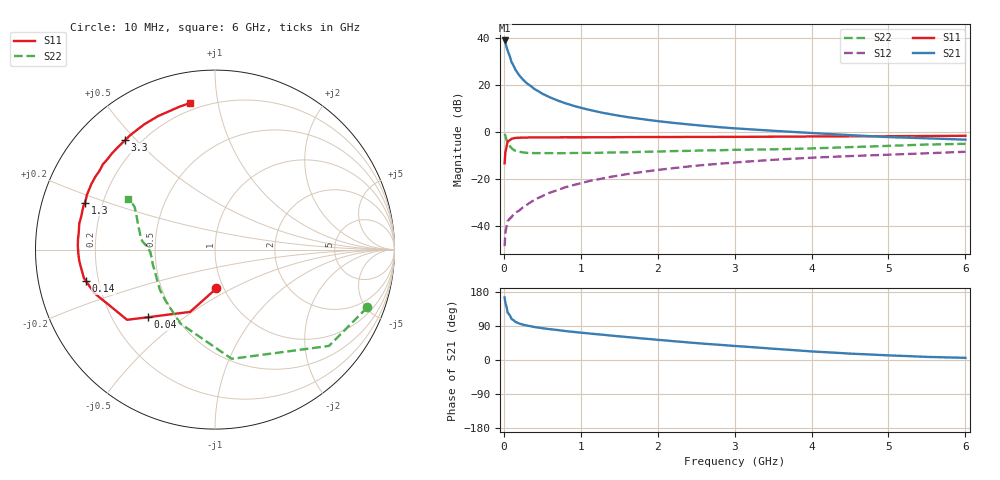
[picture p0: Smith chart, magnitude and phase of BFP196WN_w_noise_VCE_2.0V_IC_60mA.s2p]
! Infineon Technologies  Discrete & RF Semiconductors
! BFP196WN
! VCE =  2.0 V,  IC =  60 mA
! Common Emitter S-Parameters:  Jan 2017
# GHz  S  MA  R  50
!  f  S11  S21  S12  S22
! GHz  MAG  ANG  MAG  ANG  MAG  ANG  MAG  ANG
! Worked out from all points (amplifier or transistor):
!   77 points, 10 MHz to 6 GHz, reference 50 ohm
!   highest |S21| = 38.8 dB at 10 MHz (marker M1)
!   |S21| within 3 dB of that: start of sweep to 37.39 MHz
!   unconditionally stable (mu >= 1): 534.9 MHz to 2.789 GHz
!   at 130 MHz: K = 0.63, MSG = 31.4 dB, |S12| = -34.9 dB
!   at 2.2 GHz: K = 1.02, MAG = 8.6 dB, |S12| = -15.4 dB
!   at 6 GHz: K = 0.93, MSG = 2.6 dB, |S12| = -8.4 dB
!   lowest NFmin = 1.38 dB at 450 MHz
!   S11 on the Smith chart (normalised r, x): 10 MHz: 0.93, -0.42; 40 MHz: 0.35, -0.37; 140 MHz: 0.15, -0.12; 1.3 GHz: 0.13, +0.17; 3.3 GHz: 0.14, +0.46; 6 GHz: 0.16, +0.83
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0.01  0.2159 -87.8  86.64 165.1  0.0038 75.6  0.9074 -20.8
0.02  0.374 -111.8  77.41 150.7  0.0072 67.8  0.8314 -40.2
0.04  0.53 -134.7  59.22 135.8  0.0109 52.8  0.6455 -64.9
0.05  0.627 -141.4  52.39 124.8  0.0129 48.7  0.6157 -81.3
0.1  0.7156 -160.3  30.2 108.1  0.0158 49.6  0.4548 -115.1
0.14  0.7401 -166.4  22.76 102.7  0.0187 50.8  0.4061 -129.1
0.15  0.7475 -167.8  20.95 100.7  0.0194 51.0  0.3983 -133.1
0.2  0.7536 -172.5  15.87 96.3  0.0216 56.4  0.3804 -143.6
0.25  0.7591 -175.4  12.78 93.1  0.0254 58.3  0.3682 -150.1
0.3  0.7615 -177.9  10.7 90.8  0.0287 61.7  0.3602 -155.4
0.4  0.7646 178.5  8.071 86.9  0.0364 65.4  0.3558 -161.5
0.5  0.7655 175.8  6.467 83.9  0.0438 67.6  0.3566 -165.9
0.7  0.7669 171.2  4.626 79.0  0.0588 69.5  0.3539 -171.2
0.9  0.768 167.0  3.598 74.2  0.0744 69.6  0.3575 -174.4
1.1  0.77 163.5  2.961 70.2  0.0903 69.1  0.3598 -177.0
1.3  0.7704 160.1  2.517 66.4  0.1043 68.1  0.3635 -178.4
2.1  0.7796 147.4  1.625 51.6  0.1636 62.5  0.3884 176.0
3.1  0.7865 132.3  1.164 35.7  0.2313 53.6  0.4199 170.7
3.3  0.789 129.4  1.109 32.8  0.2438 51.9  0.4238 169.3
4.1  0.8025 118.1  0.929 21.5  0.2887 44.7  0.4529 161.4
5.1  0.8135 107.3  0.768 11.4  0.3337 36.9  0.5132 151.7
6  0.8287 99.6  0.686 5.7  0.3801 30.9  0.5599 149.6
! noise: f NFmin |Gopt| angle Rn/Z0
0.45  1.38  0.55  -177  0.05
0.9  1.49  0.57  -169  0.06
1.9  2.42  0.69  -147  0.18
2.4  3.19  0.7  -139  0.3
